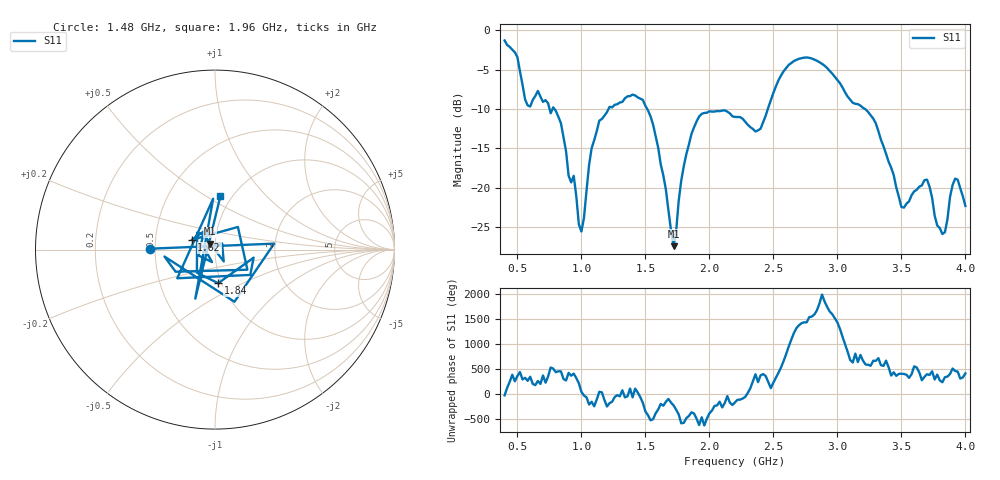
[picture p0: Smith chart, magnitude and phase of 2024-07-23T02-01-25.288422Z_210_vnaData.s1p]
!Created with skrf (http://scikit-rf.org).
# Hz S RI R 50.0
!freq ReS11 ImS11
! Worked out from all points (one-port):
!   181 points, 400 MHz to 4 GHz, reference 50 ohm
!   lowest |S11| = -27.5 dB at 1.72 GHz (marker M1), VSWR 1.09, Z = 47.4 + j3.18 ohm
!   |S11| at or under -10 dB: 789.7 MHz to 1.212 GHz (421.9 MHz wide, 42.2 % of centre); 1.514 GHz to 2.456 GHz (942.3 MHz wide, 47.5 % of centre); 3.216 GHz to end of sweep (the widest 3 of 4)
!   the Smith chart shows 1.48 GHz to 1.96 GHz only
!   S11 on the Smith chart (normalised r, x): 1.48 GHz: 0.47, +0.01; 1.62 GHz: 0.77, +0.09; 1.84 GHz: 0.96, -0.37; 1.96 GHz: 0.89, +0.58
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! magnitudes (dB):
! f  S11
! 400 MHz  -1.3
! 500 MHz  -3.4
! 580 MHz  -9.5
! 660 MHz  -7.7
! 860 MHz  -13.6
! 940 MHz  -18.5
! 1 GHz  -25.6
! 1.08 GHz  -15.0
! 1.14 GHz  -11.5
! 1.3 GHz  -9.2
! 1.48 GHz  -8.8
! 1.62 GHz  -17.1
! 1.72 GHz  -27.5
! 1.76 GHz  -21.7
! 1.84 GHz  -14.5
! 1.96 GHz  -10.5
! 2.2 GHz  -11.0
! 2.4 GHz  -12.5
! 2.66 GHz  -3.9
! 2.88 GHz  -4.3
! 3.1 GHz  -8.8
! 3.28 GHz  -11.2
! 3.5 GHz  -22.5
! 3.56 GHz  -21.8
! 3.7 GHz  -19.0
! 3.82 GHz  -25.9
! 3.92 GHz  -18.9
! 4 GHz  -22.3
